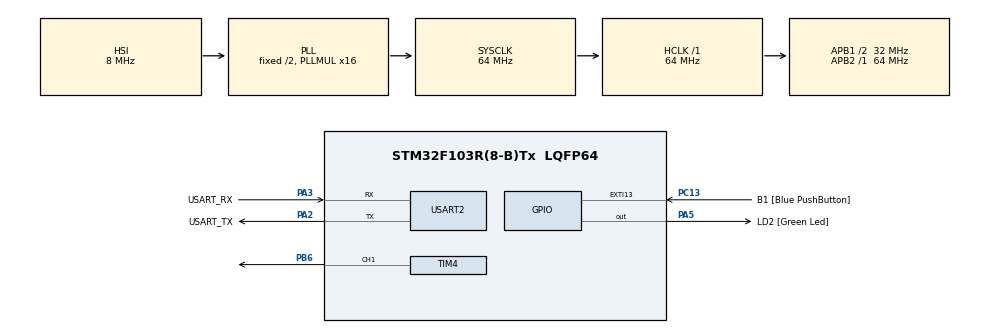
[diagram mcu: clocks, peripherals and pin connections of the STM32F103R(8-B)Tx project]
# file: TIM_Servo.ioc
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Mcu.Family=STM32F1
Mcu.Name=STM32F103R(8-B)Tx
Mcu.Package=LQFP64
NVIC.EXTI15_10_IRQn=true\:0\:0\:false\:false\:true\:true\:true\:true
NVIC.PriorityGroup=NVIC_PRIORITYGROUP_4
PA13.GPIO_Label=TMS
PA13.Mode=Serial_Wire
PA13.Signal=SYS_JTMS-SWDIO
PA14.GPIO_Label=TCK
PA14.Mode=Serial_Wire
PA14.Signal=SYS_JTCK-SWCLK
PA2.GPIO_Label=USART_TX
PA2.GPIO_Mode=GPIO_MODE_AF_PP
PA2.GPIO_PuPd=GPIO_NOPULL
PA2.GPIO_Speed=GPIO_SPEED_FREQ_LOW
PA2.Mode=Asynchronous
PA2.Signal=USART2_TX
PA3.GPIO_Label=USART_RX
PA3.GPIO_Mode=GPIO_MODE_AF_PP
PA3.GPIO_PuPd=GPIO_NOPULL
PA3.GPIO_Speed=GPIO_SPEED_FREQ_LOW
PA3.Mode=Asynchronous
PA3.Signal=USART2_RX
PA5.GPIO_Label=LD2 [Green Led]
PA5.GPIO_ModeDefaultOutputPP=GPIO_MODE_OUTPUT_PP
PA5.GPIO_PuPd=GPIO_NOPULL
PA5.GPIO_Speed=GPIO_SPEED_FREQ_LOW
PA5.Signal=GPIO_Output
PB3.GPIO_Label=SWO
PB3.Signal=SYS_JTDO-TRACESWO
PB6.Signal=S_TIM4_CH1
PC13-TAMPER-RTC.GPIO_Label=B1 [Blue PushButton]
PC13-TAMPER-RTC.GPIO_PuPd=GPIO_NOPULL
PC13-TAMPER-RTC.Signal=GPXTI13
PC14-OSC32_IN.Mode=LSE-External-Oscillator
PC14-OSC32_IN.Signal=RCC_OSC32_IN
PC15-OSC32_OUT.Mode=LSE-External-Oscillator
PC15-OSC32_OUT.Signal=RCC_OSC32_OUT
PD0-OSC_IN.Mode=HSE-External-Clock-Source
PD0-OSC_IN.Signal=RCC_OSC_IN
PD1-OSC_OUT.Mode=HSE-External-Clock-Source
PD1-OSC_OUT.Signal=RCC_OSC_OUT
ProjectManager.HeapSize=0x200
ProjectManager.StackSize=0x400
ProjectManager.TargetToolchain=STM32CubeIDE
RCC.AHBFreq_Value=64000000
RCC.APB1CLKDivider=RCC_HCLK_DIV2
RCC.APB1Freq_Value=32000000
RCC.APB1TimFreq_Value=64000000
RCC.APB2Freq_Value=64000000
RCC.APB2TimFreq_Value=64000000
RCC.HCLKFreq_Value=64000000
RCC.PLLMUL=RCC_PLL_MUL16
RCC.RTCClockSelection=RCC_RTCCLKSOURCE_LSE
RCC.SYSCLKFreq_VALUE=64000000
RCC.SYSCLKSource=RCC_SYSCLKSOURCE_PLLCLK
RCC.USBFreq_Value=64000000
SH.S_TIM4_CH1.0=TIM4_CH1,PWM Generation1 CH1
TIM4.Channel-PWM\ Generation1\ CH1=TIM_CHANNEL_1
TIM4.OCPolarity_1=TIM_OCPOLARITY_LOW
TIM4.Period=19999
TIM4.Prescaler=63
TIM4.Pulse-PWM\ Generation1\ CH1=500
USART2.VirtualMode=VM_ASYNC
VP_TIM4_VS_ClockSourceINT.Mode=Internal
board=NUCLEO-F103RB

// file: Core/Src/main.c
/* USER CODE BEGIN Header */
/**
  ******************************************************************************
  * @file           : main.c
  * @brief          : Main program body
  ******************************************************************************
  * @attention
  *
  * Copyright (c) 2024 STMicroelectronics.
  * All rights reserved.
  *
  * This software is licensed under terms that can be found in the LICENSE file
  * in the root directory of this software component.
  * If no LICENSE file comes with this software, it is provided AS-IS.
  *
  ******************************************************************************
  */
/* USER CODE END Header */
#include "main.h"

TIM_HandleTypeDef htim4;

UART_HandleTypeDef huart2;

void SystemClock_Config(void);
static void MX_GPIO_Init(void);
static void MX_USART2_UART_Init(void);
static void MX_TIM4_Init(void);

int main(void)
{

  /* USER CODE BEGIN 1 */

	char chStep = 0;

  /* USER CODE END 1 */

  /* MCU Configuration--------------------------------------------------------*/

  /* Reset of all peripherals, Initializes the Flash interface and the Systick. */
  HAL_Init();

  /* Configure the system clock */
  SystemClock_Config();

  /* Initialize all configured peripherals */
  MX_GPIO_Init();
  MX_USART2_UART_Init();
  MX_TIM4_Init();
  /* USER CODE BEGIN 2 */

  HAL_TIM_PWM_Start(&htim4, TIM_CHANNEL_1);

  /* USER CODE END 2 */

  /* Infinite loop */
  /* USER CODE BEGIN WHILE */
  while (1)
  {
	  if(!HAL_GPIO_ReadPin(B1_GPIO_Port, B1_Pin)) {
		  HAL_Delay(50);
		  if(!HAL_GPIO_ReadPin(B1_GPIO_Port, B1_Pin)) {
			  uint16_t ui16CompValue = 500;

			  switch(chStep) {
			  case 0:
				  ui16CompValue = 1000;	//	45
				  break;
			  case 1:
				  ui16CompValue = 1500;	//	90
				  break;
			  case 2:
				  ui16CompValue = 2000;	//	135
				  break;
			  case 3:
				  ui16CompValue = 2500;	//	180
				  break;
			  case 4:
				  ui16CompValue = 500;
				  break;
			  }

			  if(++chStep > 4) {
				  chStep = 0;
			  }

			  __HAL_TIM_SET_COMPARE(&htim4, TIM_CHANNEL_1, ui16CompValue);

			  while(!HAL_GPIO_ReadPin(B1_GPIO_Port, B1_Pin));
			  HAL_Delay(50);
			  while(!HAL_GPIO_ReadPin(B1_GPIO_Port, B1_Pin));
		  }
	  }
    /* USER CODE END WHILE */

  }
}

void SystemClock_Config(void)
{
  RCC_OscInitTypeDef RCC_OscInitStruct = {0};
  RCC_ClkInitTypeDef RCC_ClkInitStruct = {0};

  /** Initializes the RCC Oscillators according to the specified parameters
  * in the RCC_OscInitTypeDef structure.
  */
  RCC_OscInitStruct.OscillatorType = RCC_OSCILLATORTYPE_HSI;
  RCC_OscInitStruct.HSIState = RCC_HSI_ON;
  RCC_OscInitStruct.HSICalibrationValue = RCC_HSICALIBRATION_DEFAULT;
  RCC_OscInitStruct.PLL.PLLState = RCC_PLL_ON;
  RCC_OscInitStruct.PLL.PLLSource = RCC_PLLSOURCE_HSI_DIV2;
  RCC_OscInitStruct.PLL.PLLMUL = RCC_PLL_MUL16;
  if (HAL_RCC_OscConfig(&RCC_OscInitStruct) != HAL_OK)
  {
    Error_Handler();
  }

  /** Initializes the CPU, AHB and APB buses clocks
  */
  RCC_ClkInitStruct.ClockType = RCC_CLOCKTYPE_HCLK|RCC_CLOCKTYPE_SYSCLK
                              |RCC_CLOCKTYPE_PCLK1|RCC_CLOCKTYPE_PCLK2;
  RCC_ClkInitStruct.SYSCLKSource = RCC_SYSCLKSOURCE_PLLCLK;
  RCC_ClkInitStruct.AHBCLKDivider = RCC_SYSCLK_DIV1;
  RCC_ClkInitStruct.APB1CLKDivider = RCC_HCLK_DIV2;
  RCC_ClkInitStruct.APB2CLKDivider = RCC_HCLK_DIV1;

  if (HAL_RCC_ClockConfig(&RCC_ClkInitStruct, FLASH_LATENCY_2) != HAL_OK)
  {
    Error_Handler();
  }
}

static void MX_TIM4_Init(void)
{

  TIM_ClockConfigTypeDef sClockSourceConfig = {0};
  TIM_MasterConfigTypeDef sMasterConfig = {0};
  TIM_OC_InitTypeDef sConfigOC = {0};

  htim4.Instance = TIM4;
  htim4.Init.Prescaler = 63;
  htim4.Init.CounterMode = TIM_COUNTERMODE_UP;
  htim4.Init.Period = 19999;
  htim4.Init.ClockDivision = TIM_CLOCKDIVISION_DIV1;
  htim4.Init.AutoReloadPreload = TIM_AUTORELOAD_PRELOAD_DISABLE;
  if (HAL_TIM_Base_Init(&htim4) != HAL_OK)
  {
    Error_Handler();
  }
  sClockSourceConfig.ClockSource = TIM_CLOCKSOURCE_INTERNAL;
  if (HAL_TIM_ConfigClockSource(&htim4, &sClockSourceConfig) != HAL_OK)
  {
    Error_Handler();
  }
  if (HAL_TIM_PWM_Init(&htim4) != HAL_OK)
  {
    Error_Handler();
  }
  sMasterConfig.MasterOutputTrigger = TIM_TRGO_RESET;
  sMasterConfig.MasterSlaveMode = TIM_MASTERSLAVEMODE_DISABLE;
  if (HAL_TIMEx_MasterConfigSynchronization(&htim4, &sMasterConfig) != HAL_OK)
  {
    Error_Handler();
  }
  sConfigOC.OCMode = TIM_OCMODE_PWM1;
  sConfigOC.Pulse = 500;
  sConfigOC.OCPolarity = TIM_OCPOLARITY_LOW;
  sConfigOC.OCFastMode = TIM_OCFAST_DISABLE;
  if (HAL_TIM_PWM_ConfigChannel(&htim4, &sConfigOC, TIM_CHANNEL_1) != HAL_OK)
  {
    Error_Handler();
  }
  HAL_TIM_MspPostInit(&htim4);

}

static void MX_USART2_UART_Init(void)
{

  huart2.Instance = USART2;
  huart2.Init.BaudRate = 115200;
  huart2.Init.WordLength = UART_WORDLENGTH_8B;
  huart2.Init.StopBits = UART_STOPBITS_1;
  huart2.Init.Parity = UART_PARITY_NONE;
  huart2.Init.Mode = UART_MODE_TX_RX;
  huart2.Init.HwFlowCtl = UART_HWCONTROL_NONE;
  huart2.Init.OverSampling = UART_OVERSAMPLING_16;
  if (HAL_UART_Init(&huart2) != HAL_OK)
  {
    Error_Handler();
  }

}

static void MX_GPIO_Init(void)
{
  GPIO_InitTypeDef GPIO_InitStruct = {0};

  /* GPIO Ports Clock Enable */
  __HAL_RCC_GPIOC_CLK_ENABLE();
  __HAL_RCC_GPIOD_CLK_ENABLE();
  __HAL_RCC_GPIOA_CLK_ENABLE();
  __HAL_RCC_GPIOB_CLK_ENABLE();

  /*Configure GPIO pin Output Level */
  HAL_GPIO_WritePin(LD2_GPIO_Port, LD2_Pin, GPIO_PIN_RESET);

  /*Configure GPIO pin : B1_Pin */
  GPIO_InitStruct.Pin = B1_Pin;
  GPIO_InitStruct.Mode = GPIO_MODE_IT_RISING;
  GPIO_InitStruct.Pull = GPIO_NOPULL;
  HAL_GPIO_Init(B1_GPIO_Port, &GPIO_InitStruct);

  /*Configure GPIO pin : LD2_Pin */
  GPIO_InitStruct.Pin = LD2_Pin;
  GPIO_InitStruct.Mode = GPIO_MODE_OUTPUT_PP;
  GPIO_InitStruct.Pull = GPIO_NOPULL;
  GPIO_InitStruct.Speed = GPIO_SPEED_FREQ_LOW;
  HAL_GPIO_Init(LD2_GPIO_Port, &GPIO_InitStruct);

  /* EXTI interrupt init*/
  HAL_NVIC_SetPriority(EXTI15_10_IRQn, 0, 0);
  HAL_NVIC_EnableIRQ(EXTI15_10_IRQn);

}

void Error_Handler(void)
{
  __disable_irq();
  while (1)
  {
  }
}
